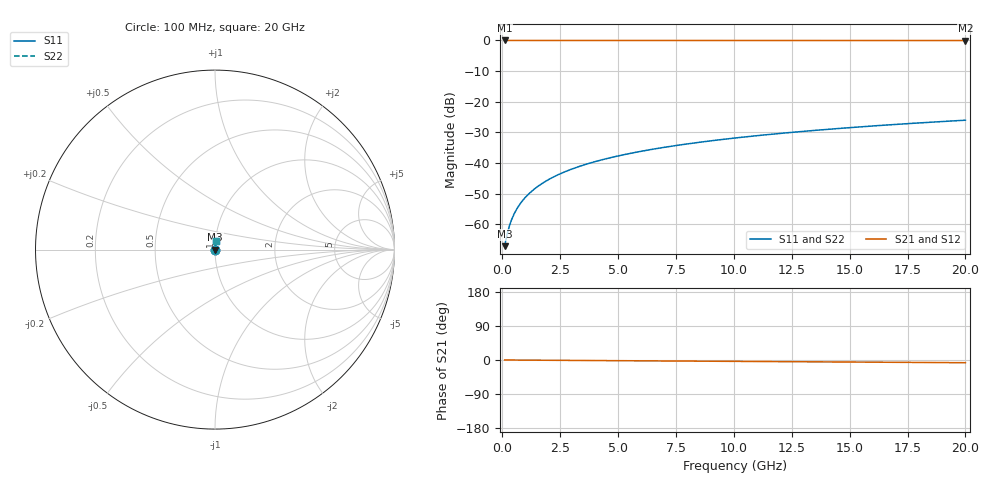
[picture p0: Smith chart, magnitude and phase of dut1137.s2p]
! Touchstone file exported from HFSS 2026.1.0
!  File:  C:/ffzhzh/LocalFiles/Ansys_Project_Files/temp_train_TSV_1137_1783191308_22436.aedt
!  Generated:  02:56:59 AM Jul  5, 2026
!  Design:  TSV
!  Project:  temp_train_TSV_1137_1783191308_22436
! Variables:
!  h_bsmrdl = 2um
!  h_ox = 20um
!  h_rdl = 5um
!  h_sub = 63.61um
!  h_tmrdl = 5um
!  h_tsv = 63.61um
!  h_via = 3um
!  l_bsmrdl = 300um
!  l_sub = 409.88um
!  l_tmrdl = 200um
!  m_sub = 200um
!  pitch = 36.07um
!  r_tsv = 4.94um
!  s_tmrdl = 10um
!  w_bsmrdl = 18um
!  w_sub = 500um
!  w_tmrdl = 12um
!  x_tsv_center1 = 206um
!  x_tsv_center2 = 524um
!  x_tsv_center3 = 736um
!  x_tsv_center4 = 1054um
!  x_tsv_center5 = 1266um
!  x_tsv_center6 = 1584um
# GHz S MA R 50.000000
! Terminal data exported
! Port[1] = TSV1_1_T1
! Port[2] = TSV1_1_T2
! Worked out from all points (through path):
!   200 points, 100 MHz to 20 GHz, reference 50 ohm
!   highest |S21| = 0.00 dB at 100 MHz (marker M1); lowest = 0.0 dB at 20 GHz (marker M2)
!   lowest |S11| = -67.1 dB at 100 MHz (marker M3), VSWR 1.00, Z = 50 + j0.0288 ohm
!   |S11| at or under -10 dB: start of sweep to end of sweep
!   |S22| runs from -67.1 to -26.0 dB; largest |S21 - S12| = 5e-15
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0.1  0.0004398 40.8  0.9997 -0.0  0.9997 -0.0  0.0004398 40.8
! Gamma 0 0 0 0
! Port Impedance 50 0 50 0
0.2  0.000667 59.0  0.9997 -0.1  0.9997 -0.1  0.000667 59.0
0.3  0.0009231 67.1  0.9996 -0.1  0.9996 -0.1  0.0009231 67.1
0.4  0.001185 71.5  0.9996 -0.2  0.9996 -0.2  0.001185 71.5
0.5  0.001448 74.3  0.9996 -0.2  0.9996 -0.2  0.001448 74.3
0.6  0.001711 76.2  0.9996 -0.2  0.9996 -0.2  0.001711 76.2
0.8  0.002234 78.7  0.9996 -0.3  0.9996 -0.3  0.002234 78.7
1.1  0.003018 80.9  0.9995 -0.4  0.9995 -0.4  0.003018 80.9
1.5  0.004065 82.4  0.9995 -0.6  0.9995 -0.6  0.004065 82.4
1.8  0.004849 83.1  0.9995 -0.7  0.9995 -0.7  0.004849 83.1
2.1  0.005632 83.6  0.9994 -0.8  0.9994 -0.8  0.005632 83.6
2.7  0.007189 84.1  0.9993 -1.0  0.9993 -1.0  0.007189 84.1
3.5  0.009245 84.3  0.9992 -1.3  0.9992 -1.3  0.009245 84.3
4.2  0.01103 84.3  0.9991 -1.5  0.9991 -1.5  0.01103 84.3
5  0.01305 84.3  0.999 -1.8  0.999 -1.8  0.01305 84.3
5.9  0.0153 84.2  0.9989 -2.1  0.9989 -2.1  0.0153 84.2
6.8  0.01755 84.1  0.9988 -2.5  0.9988 -2.5  0.01755 84.1
8.3  0.02127 83.9  0.9986 -3.0  0.9986 -3.0  0.02127 83.9
10.1  0.02572 83.5  0.9984 -3.6  0.9984 -3.6  0.02572 83.5
13.4  0.03385 82.7  0.998 -4.8  0.998 -4.8  0.03385 82.7
16.7  0.04194 81.8  0.9975 -6.0  0.9975 -6.0  0.04194 81.8
20  0.04997 80.8  0.997 -7.2  0.997 -7.2  0.04997 80.8
